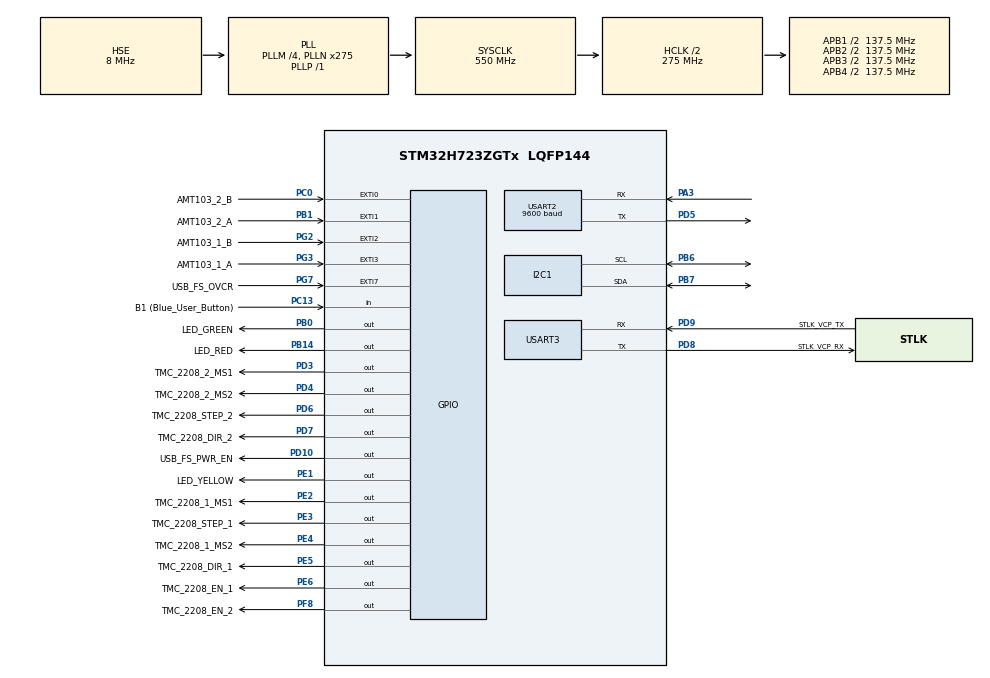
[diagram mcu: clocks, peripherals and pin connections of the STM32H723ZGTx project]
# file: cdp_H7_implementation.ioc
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I2C1.Timing=0x60404E72
Mcu.Family=STM32H7
Mcu.Name=STM32H723ZGTx
Mcu.Package=LQFP144
NVIC.EXTI0_IRQn=true\:0\:0\:false\:false\:true\:true\:true\:true
NVIC.EXTI1_IRQn=true\:0\:0\:false\:false\:true\:true\:true\:true
NVIC.EXTI2_IRQn=true\:0\:0\:false\:false\:true\:true\:true\:true
NVIC.EXTI3_IRQn=true\:0\:0\:false\:false\:true\:true\:true\:true
NVIC.PriorityGroup=NVIC_PRIORITYGROUP_4
NVIC.USART2_IRQn=true\:0\:0\:false\:false\:true\:true\:true\:true
PA1.GPIO_Label=RMII_REF_CLK
PA1.Signal=ETH_REF_CLK
PA10.GPIO_Label=USB_FS_ID
PA10.Signal=USB_OTG_HS_ID
PA13(JTMS/SWDIO).GPIO_Label=SWDIO
PA13(JTMS/SWDIO).Mode=Trace_Asynchronous_SW
PA13(JTMS/SWDIO).Signal=DEBUG_JTMS-SWDIO
PA14(JTCK/SWCLK).GPIO_Label=SWCLK
PA14(JTCK/SWCLK).Mode=Trace_Asynchronous_SW
PA14(JTCK/SWCLK).Signal=DEBUG_JTCK-SWCLK
PA2.GPIO_Label=RMII_MDIO
PA2.Signal=ETH_MDIO
PA3.Mode=Asynchronous
PA3.Signal=USART2_RX
PA7.GPIO_Label=RMII_CRS_DV
PA7.Signal=ETH_CRS_DV
PA9.GPIO_Label=USB_FS_VBUS
PA9.Signal=USB_OTG_HS_VBUS
PB0.GPIO_Label=LED_GREEN
PB0.Signal=GPIO_Output
PB1.GPIO_Label=AMT103_2_A
PB1.GPIO_ModeDefaultEXTI=GPIO_MODE_IT_RISING_FALLING
PB1.Signal=GPXTI1
PB13.GPIO_Label=RMII_TXD1
PB13.Signal=ETH_TXD1
PB14.GPIO_Label=LED_RED
PB14.Signal=GPIO_Output
PB3(JTDO/TRACESWO).GPIO_Label=SWO
PB3(JTDO/TRACESWO).Mode=Trace_Asynchronous_SW
PB3(JTDO/TRACESWO).Signal=DEBUG_JTDO-SWO
PB6.Mode=I2C
PB6.Signal=I2C1_SCL
PB7.Mode=I2C
PB7.Signal=I2C1_SDA
PC0.GPIO_Label=AMT103_2_B
PC0.GPIO_ModeDefaultEXTI=GPIO_MODE_IT_RISING_FALLING
PC0.Signal=GPXTI0
PC1.GPIO_Label=RMII_MDC
PC1.Signal=ETH_MDC
PC13.GPIO_Label=B1 (Blue_User_Button)
PC13.Signal=GPIO_Input
PC14-OSC32_IN.Mode=LSE-External-Oscillator
PC14-OSC32_IN.Signal=RCC_OSC32_IN
PC15-OSC32_OUT.Mode=LSE-External-Oscillator
PC15-OSC32_OUT.Signal=RCC_OSC32_OUT
PC4.GPIO_Label=RMII_RXD0
PC4.Signal=ETH_RXD0
PC5.GPIO_Label=RMII_RXD1
PC5.Signal=ETH_RXD1
PD10.GPIO_Label=USB_FS_PWR_EN
PD10.Signal=GPIO_Output
PD3.GPIO_Label=TMC_2208_2_MS1
PD3.GPIO_Speed=GPIO_SPEED_FREQ_HIGH
PD3.Signal=GPIO_Output
PD4.GPIO_Label=TMC_2208_2_MS2
PD4.GPIO_Speed=GPIO_SPEED_FREQ_HIGH
PD4.Signal=GPIO_Output
PD5.Mode=Asynchronous
PD5.Signal=USART2_TX
PD6.GPIO_Label=TMC_2208_STEP_2
PD6.GPIO_Speed=GPIO_SPEED_FREQ_HIGH
PD6.Signal=GPIO_Output
PD7.GPIO_Label=TMC_2208_DIR_2
PD7.GPIO_Speed=GPIO_SPEED_FREQ_HIGH
PD7.Signal=GPIO_Output
PD8.GPIO_Label=STLK_VCP_RX
PD8.Mode=Asynchronous
PD8.Signal=USART3_TX
PD9.GPIO_Label=STLK_VCP_TX
PD9.Mode=Asynchronous
PD9.Signal=USART3_RX
PE1.GPIO_Label=LED_YELLOW
PE1.Signal=GPIO_Output
PE2.GPIO_Label=TMC_2208_1_MS1
PE2.GPIO_Speed=GPIO_SPEED_FREQ_HIGH
PE2.Signal=GPIO_Output
PE3.GPIO_Label=TMC_2208_STEP_1
PE3.GPIO_Speed=GPIO_SPEED_FREQ_HIGH
PE3.Signal=GPIO_Output
PE4.GPIO_Label=TMC_2208_1_MS2
PE4.GPIO_Speed=GPIO_SPEED_FREQ_HIGH
PE4.Signal=GPIO_Output
PE5.GPIO_Label=TMC_2208_DIR_1
PE5.GPIO_Speed=GPIO_SPEED_FREQ_HIGH
PE5.Signal=GPIO_Output
PE6.GPIO_Label=TMC_2208_EN_1
PE6.GPIO_Speed=GPIO_SPEED_FREQ_HIGH
PE6.Signal=GPIO_Output
PF8.GPIO_Label=TMC_2208_EN_2
PF8.GPIO_Speed=GPIO_SPEED_FREQ_HIGH
PF8.Signal=GPIO_Output
PG11.GPIO_Label=RMII_TX_EN
PG11.Signal=ETH_TX_EN
PG13.GPIO_Label=RMII_TXD0
PG13.Signal=ETH_TXD0
PG2.GPIO_Label=AMT103_1_B
PG2.GPIO_ModeDefaultEXTI=GPIO_MODE_IT_RISING_FALLING
PG2.Signal=GPXTI2
PG3.GPIO_Label=AMT103_1_A
PG3.GPIO_ModeDefaultEXTI=GPIO_MODE_IT_RISING_FALLING
PG3.Signal=GPXTI3
PG7.GPIO_Label=USB_FS_OVCR
PG7.Signal=GPXTI7
PH0-OSC_IN.GPIO_Label=MCO
PH0-OSC_IN.Mode=HSE-External-Clock-Source
PH0-OSC_IN.Signal=RCC_OSC_IN
PH1-OSC_OUT.Signal=RCC_OSC_OUT
ProjectManager.HeapSize=0x200
ProjectManager.StackSize=0x400
ProjectManager.TargetToolchain=STM32CubeIDE
RCC.ADCFreq_Value=76000000
RCC.APB1Freq_Value=137500000
RCC.APB2Freq_Value=137500000
RCC.APB3Freq_Value=137500000
RCC.APB4Freq_Value=137500000
RCC.CortexFreq_Value=550000000
RCC.D1PPRE=RCC_APB3_DIV2
RCC.D2PPRE1=RCC_APB1_DIV2
RCC.D2PPRE2=RCC_APB2_DIV2
RCC.D3PPRE=RCC_APB4_DIV2
RCC.DIVM1=4
RCC.DIVM2=1
RCC.DIVN1=275
RCC.DIVN2=19
RCC.DIVP1=1
RCC.DIVQ1=4
RCC.HCLKFreq_Value=275000000
RCC.HPRE=RCC_HCLK_DIV2
RCC.HSE_VALUE=8000000
RCC.PLLFRACN=0
RCC.PLLSourceVirtual=RCC_PLLSOURCE_HSE
RCC.SYSCLKFreq_VALUE=550000000
RCC.SYSCLKSource=RCC_SYSCLKSOURCE_PLLCLK
RCC.USBCLockSelection=RCC_USBCLKSOURCE_HSI48
RCC.USBFreq_Value=48000000
USART2.BaudRate=9600
USART2.VirtualMode-Asynchronous=VM_ASYNC
USART3.VirtualMode-Asynchronous=VM_ASYNC
board=NUCLEO-H723ZG

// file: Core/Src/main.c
/* USER CODE BEGIN Header */
/**
  ******************************************************************************
  * @file           : main.c
  * @brief          : Main program body
  ******************************************************************************
  *
  ******************************************************************************
  */

/* USER CODE END Header */
#include "main.h"

I2C_HandleTypeDef hi2c1;

UART_HandleTypeDef huart2;
UART_HandleTypeDef huart3;

/* USER CODE BEGIN PV */

double unfiltered[6]; 	// accelerometer values
double filtered[6]; // filtered values

uint8_t error_flag;	 // any error that the accelerometer might throw
ekf_t ekf;		// ekf object

uint32_t start, end, elapsed = 0; // using these to track loop execution time

char debugMsg[100];			// variable to hold messages to be transmitted over UART
char command[RX_BUFFER_SIZE];	// rx buffer for interrupt reception
volatile uint32_t rxIndex = 0;	// variable representing what index the next UART byte goes to
volatile bool messageReady = false;	// when a message is ready, null terminate it, feed it
									// to HC05_ProcessCommand();
float mag[3];
int16_t accelX, accelY, accelZ;
double angles[2];

double BMA456_X_OFFSET = DEFAULT_BMA456_X_OFFSET;
double BMA456_Y_OFFSET = DEFAULT_BMA456_Y_OFFSET;
double BMA456_Z_OFFSET = DEFAULT_BMA456_Z_OFFSET;

Telescope_Status modeStatus =  {.currentMode = MODE_STANDBY,
								.reference_altitude = 0,
								.reference_azimuth = 0,
								.current_altitude = 0,
								.current_azimuth = 0,
							    .est_altitude = 0,
							    .est_azimuth = 0,
							    .ref_mag_x = 0,
							    .ref_mag_y = 0,
								.ref_dec = 0,
							    .current_mag_x = 0,
								.current_mag_y = 0,
								.current_mag_z = 0,
							    .encoder1 = 0,
								.encoder2 = 0,
							    .motor1_en = 0,
							    .motor2_en = 0,
								.hard_iron = {0, 0, 0},
								.soft_iron = {{1, 0, 0},
											  {0, 1, 0},
											  {0, 0, 1}}}; // initialize the telescope

int increment = 0;
															// initialize the magnetometer
MAGNETO_InitTypeDef initDef = {
	    .Register1 = LIS3MDL_MAG_OM_XY_ULTRAHIGH | LIS3MDL_MAG_ODR_80_HZ,
	    .Register2 = LIS3MDL_MAG_FS_4_GA,
	    .Register3 = LIS3MDL_MAG_CONTINUOUS_MODE,
	    .Register4 = LIS3MDL_MAG_OM_Z_ULTRAHIGH,
	    .Register5 = LIS3MDL_MAG_BDU_MSBLSB
	};

/* USER CODE END PV */

void SystemClock_Config(void);
static void MX_GPIO_Init(void);
static void MX_USART3_UART_Init(void);
static void MX_I2C1_Init(void);
static void MX_USART2_UART_Init(void);
/* USER CODE BEGIN PFP */
void calculateAnglesFromAcceleration(const double data[6], double *altitude, double *azimuth);
float vector_dot(const float[3], const float[3]);
void vector_normalize(float[3]);
void vector_cross(const float[3], const float[3], float[3]);
/* USER CODE END PFP */

int main(void)
{

  /* MCU Configuration--------------------------------------------------------*/

  /* Reset of all peripherals, Initializes the Flash interface and the Systick. */
  HAL_Init();

  /* Configure the system clock */
  SystemClock_Config();

  /* Initialize all configured peripherals */
  MX_GPIO_Init();
  MX_USART3_UART_Init();
  MX_I2C1_Init();
  MX_USART2_UART_Init();
  /* USER CODE BEGIN 2 */

  BMA456_Startup(hi2c1);	// initializes the BMA456 accelerometer
  LIS3MDL_MagInit(initDef);	// initializes the LIS3MDL magnetometer

  ekf_setup(&ekf);

  HAL_UART_Receive_IT(&huart2, (uint8_t*) command, 1);

  /* USER CODE END 2 */

  /* Infinite loop */
  /* USER CODE BEGIN WHILE */
  while (1)
  {
	  start = HAL_GetTick();
	  // Based on modeStatus.currentMode, switch between different operational modes.
	  if(messageReady==true){
		  messageReady = false;
		  HC05_ProcessCommand(command, &modeStatus, &huart2);
	  }

	  switch(modeStatus.currentMode) {

	      case MODE_POINTING:
	    	 volatile float distance_traveled_alt, distance_traveled_az, alt_diff, az_diff;
	    	 distance_traveled_alt = modeStatus.encoder1 * AMT103_DPP;
	    	 distance_traveled_az = modeStatus.encoder2 * AMT103_DPP;
	    	 modeStatus.est_altitude = modeStatus.current_altitude + distance_traveled_alt;
	    	 modeStatus.est_azimuth = modeStatus.current_azimuth + distance_traveled_az;
	    	 alt_diff = modeStatus.est_altitude - modeStatus.reference_altitude;
	    	 az_diff = modeStatus.est_azimuth - modeStatus.reference_azimuth;
	    	 // altitude control
	    	 if(fabs(alt_diff) >= 1){
	    		 if(alt_diff < 0){
	    			 TMC2208_Backward(ALT_MOTOR);
	    		 } else{
	    			 TMC2208_Forward(ALT_MOTOR);
	    		 }
	    		 TMC2208_Step(ALT_MOTOR);
	    	 }
	    	 // azimuth control
	    	 if(fabs(az_diff) >= 1){
	    		 if(az_diff < 0){
	    			 TMC2208_Backward(AZ_MOTOR);
	    		 } else{
	    			 TMC2208_Forward(AZ_MOTOR);
	    		 }
	    		 TMC2208_Step(2);
	    	 }
			 if(increment >= 100 ){
				 // if the telescope isn't moving from the encoder's POV, send debug message and leave pointing
				 if(distance_traveled_alt == 0 || distance_traveled_az == 0){
					  sprintf(debugMsg, "ERROR - invalid measured distance traveled from encoders! Exiting pointing mode.\r\n");
					  HAL_UART_Transmit(&huart2, (uint8_t*)debugMsg, strlen(debugMsg), 100);
					  modeStatus.currentMode = MODE_STANDBY;
					  increment = 0;
				 } else{	// regular reports of how far the scope has traveled
					  sprintf(debugMsg, "Distance traveled - Altitude: %f | Azimuth: %f\r\n", distance_traveled_alt, distance_traveled_az);
					  HAL_UART_Transmit(&huart2, (uint8_t*)debugMsg, strlen(debugMsg), 100);
					 increment = 0;
				 }
	    	  	}
			  increment++;
	          break;

	      case MODE_STANDBY:
			    modeStatus.encoder1 = 0;
                modeStatus.encoder2 = 0;
				// Read acceleration data
				BMA456_ReadAccelData(&accelX, &accelY, &accelZ, hi2c1);
				LIS3MDL_MagReadXYZ((float*) &mag);

				// Convert to double for calculation (assuming BMA456 scale is set for +-2g and 12-bit resolution)
				unfiltered[0] = ((double)accelX / BMA456_FSR * 9.80665) - BMA456_X_OFFSET;
				unfiltered[1] = ((double)accelY / BMA456_FSR * 9.80665) - BMA456_Y_OFFSET;
				unfiltered[2] = ((double)accelZ / BMA456_FSR * 9.80665) - BMA456_Z_OFFSET;

				// Apply hard and soft iron correction to magnetometer data
				for (int i = 0; i < 3; i++){
					mag[i] -= modeStatus.hard_iron[i];
				}
				for (int i = 0; i < 3; i++){
					for (int j = 0; j < 3; j++){
						unfiltered[i+3] += mag[j] * modeStatus.soft_iron[i][j];
					}
				}
				// Calculate angles
				calculateAnglesFromAcceleration(unfiltered, &angles[0], &angles[1]);

				model(&ekf, angles);

				ekf_step(&ekf, angles);

				for (int i = 0; i < Nsta; i++) {
				    angles[i] = ekf.x[i];
				}
				modeStatus.current_altitude = angles[0];
				modeStatus.current_azimuth = angles[1] + modeStatus.ref_dec;

				// Send angles over UART to debug
	    	  	if(increment>=4500){
					sprintf(debugMsg, "Altitude: %f, Azimuth: %f\r\n", modeStatus.current_altitude, modeStatus.current_azimuth);
					HAL_UART_Transmit(&huart2, (uint8_t*)debugMsg, strlen(debugMsg), 100);
					increment = 0;
	    	  	}
	          break;

	      case MODE_CALIBRATION_A:
	    	  	BMA456_Calibration(hi2c1, &BMA456_X_OFFSET, &BMA456_Y_OFFSET, &BMA456_Z_OFFSET, ekf);
				sprintf(debugMsg, "Accelerometer calibration complete...\r\n");
				HAL_UART_Transmit(&huart2, (uint8_t*)debugMsg, strlen(debugMsg), 100);
				modeStatus.currentMode = MODE_STANDBY;
	          break;

	      case MODE_CALIBRATION_M:
	    	    Magnetic_Calibration(&huart2);
				sprintf(debugMsg, "Magnetometer calibration complete...\r\n");
				HAL_UART_Transmit(&huart2, (uint8_t*)debugMsg, strlen(debugMsg), 100);
				modeStatus.currentMode = MODE_STANDBY;

	    	  break;

	      case MODE_HEALTH_CHECK:
	    	    uint8_t error_flags = 0;
				BMA456_ReadErrorFlag(&error_flags, hi2c1);
				if (error_flags != 0){
					sprintf(debugMsg, "ERROR! BMA456 reported error: %i \r\n", error_flags);
					HAL_UART_Transmit(&huart2, (uint8_t*)debugMsg, strlen(debugMsg), 100);
				}
				int16_t iaccelX, iaccelY, iaccelZ, paccelX, paccelY, paccelZ;
				BMA456_ReadAccelData(&iaccelX, &iaccelY, &iaccelZ, hi2c1);
				HAL_Delay(2000);
				BMA456_ReadAccelData(&paccelX, &paccelY, &paccelZ, hi2c1);
				if (iaccelX == paccelX || iaccelY == paccelY || iaccelZ == paccelZ){
					sprintf(debugMsg, "ERROR! BMA456 not updating values.\r\n");
					HAL_UART_Transmit(&huart2, (uint8_t*)debugMsg, strlen(debugMsg), 100);
				}
				float imag[3];
				LIS3MDL_MagReadXYZ((float*) &imag);
				for (int i = 0; i < 3; i++){
					if(imag[i] == 0 || imag[i] == 0xFF){
						sprintf(debugMsg, "ERROR! LIS3MDL not updating values.\r\n");
						HAL_UART_Transmit(&huart2, (uint8_t*)debugMsg, strlen(debugMsg), 100);
					}
				}
				modeStatus.currentMode = MODE_STANDBY;
	          break;

	      default:
				sprintf(debugMsg, "Failure to change modes.\r\n");
				HAL_UART_Transmit(&huart2, (uint8_t*)debugMsg, strlen(debugMsg), 100);
				modeStatus.currentMode = MODE_STANDBY;
				increment = 0;
	          break;

	  }
	  increment++;
	  // Disable the motors if we aren't in pointing mode.
 	 if(modeStatus.currentMode != MODE_POINTING){
 		 TMC2208_Disable();
 		 modeStatus.motor1_en = 0;
 		 modeStatus.motor2_en = 0;
 	 }

	  elapsed = HAL_GetTick() - start;	// execution time of main loop in milliseconds
    /* USER CODE END WHILE */

  }
}

void SystemClock_Config(void)
{
  RCC_OscInitTypeDef RCC_OscInitStruct = {0};
  RCC_ClkInitTypeDef RCC_ClkInitStruct = {0};

  /** Supply configuration update enable
  */
  HAL_PWREx_ConfigSupply(PWR_LDO_SUPPLY);

  /** Configure the main internal regulator output voltage
  */
  __HAL_PWR_VOLTAGESCALING_CONFIG(PWR_REGULATOR_VOLTAGE_SCALE0);

  while(!__HAL_PWR_GET_FLAG(PWR_FLAG_VOSRDY)) {}

  /** Initializes the RCC Oscillators according to the specified parameters
  * in the RCC_OscInitTypeDef structure.
  */
  RCC_OscInitStruct.OscillatorType = RCC_OSCILLATORTYPE_HSE;
  RCC_OscInitStruct.HSEState = RCC_HSE_BYPASS;
  RCC_OscInitStruct.PLL.PLLState = RCC_PLL_ON;
  RCC_OscInitStruct.PLL.PLLSource = RCC_PLLSOURCE_HSE;
  RCC_OscInitStruct.PLL.PLLM = 4;
  RCC_OscInitStruct.PLL.PLLN = 275;
  RCC_OscInitStruct.PLL.PLLP = 1;
  RCC_OscInitStruct.PLL.PLLQ = 4;
  RCC_OscInitStruct.PLL.PLLR = 2;
  RCC_OscInitStruct.PLL.PLLRGE = RCC_PLL1VCIRANGE_1;
  RCC_OscInitStruct.PLL.PLLVCOSEL = RCC_PLL1VCOWIDE;
  RCC_OscInitStruct.PLL.PLLFRACN = 0;
  if (HAL_RCC_OscConfig(&RCC_OscInitStruct) != HAL_OK)
  {
    Error_Handler();
  }

  /** Initializes the CPU, AHB and APB buses clocks
  */
  RCC_ClkInitStruct.ClockType = RCC_CLOCKTYPE_HCLK|RCC_CLOCKTYPE_SYSCLK
                              |RCC_CLOCKTYPE_PCLK1|RCC_CLOCKTYPE_PCLK2
                              |RCC_CLOCKTYPE_D3PCLK1|RCC_CLOCKTYPE_D1PCLK1;
  RCC_ClkInitStruct.SYSCLKSource = RCC_SYSCLKSOURCE_PLLCLK;
  RCC_ClkInitStruct.SYSCLKDivider = RCC_SYSCLK_DIV1;
  RCC_ClkInitStruct.AHBCLKDivider = RCC_HCLK_DIV2;
  RCC_ClkInitStruct.APB3CLKDivider = RCC_APB3_DIV2;
  RCC_ClkInitStruct.APB1CLKDivider = RCC_APB1_DIV2;
  RCC_ClkInitStruct.APB2CLKDivider = RCC_APB2_DIV2;
  RCC_ClkInitStruct.APB4CLKDivider = RCC_APB4_DIV2;

  if (HAL_RCC_ClockConfig(&RCC_ClkInitStruct, FLASH_LATENCY_3) != HAL_OK)
  {
    Error_Handler();
  }
}

static void MX_I2C1_Init(void)
{

  hi2c1.Instance = I2C1;
  hi2c1.Init.Timing = 0x60404E72;
  hi2c1.Init.OwnAddress1 = 0;
  hi2c1.Init.AddressingMode = I2C_ADDRESSINGMODE_7BIT;
  hi2c1.Init.DualAddressMode = I2C_DUALADDRESS_DISABLE;
  hi2c1.Init.OwnAddress2 = 0;
  hi2c1.Init.OwnAddress2Masks = I2C_OA2_NOMASK;
  hi2c1.Init.GeneralCallMode = I2C_GENERALCALL_DISABLE;
  hi2c1.Init.NoStretchMode = I2C_NOSTRETCH_DISABLE;
  if (HAL_I2C_Init(&hi2c1) != HAL_OK)
  {
    Error_Handler();
  }

  /** Configure Analogue filter
  */
  if (HAL_I2CEx_ConfigAnalogFilter(&hi2c1, I2C_ANALOGFILTER_ENABLE) != HAL_OK)
  {
    Error_Handler();
  }

  /** Configure Digital filter
  */
  if (HAL_I2CEx_ConfigDigitalFilter(&hi2c1, 0) != HAL_OK)
  {
    Error_Handler();
  }

}

static void MX_USART2_UART_Init(void)
{

  huart2.Instance = USART2;
  huart2.Init.BaudRate = 9600;
  huart2.Init.WordLength = UART_WORDLENGTH_8B;
  huart2.Init.StopBits = UART_STOPBITS_1;
  huart2.Init.Parity = UART_PARITY_NONE;
  huart2.Init.Mode = UART_MODE_TX_RX;
  huart2.Init.HwFlowCtl = UART_HWCONTROL_NONE;
  huart2.Init.OverSampling = UART_OVERSAMPLING_16;
  huart2.Init.OneBitSampling = UART_ONE_BIT_SAMPLE_DISABLE;
  huart2.Init.ClockPrescaler = UART_PRESCALER_DIV1;
  huart2.AdvancedInit.AdvFeatureInit = UART_ADVFEATURE_NO_INIT;
  if (HAL_UART_Init(&huart2) != HAL_OK)
  {
    Error_Handler();
  }
  if (HAL_UARTEx_SetTxFifoThreshold(&huart2, UART_TXFIFO_THRESHOLD_1_8) != HAL_OK)
  {
    Error_Handler();
  }
  if (HAL_UARTEx_SetRxFifoThreshold(&huart2, UART_RXFIFO_THRESHOLD_1_8) != HAL_OK)
  {
    Error_Handler();
  }
  if (HAL_UARTEx_DisableFifoMode(&huart2) != HAL_OK)
  {
    Error_Handler();
  }

}

static void MX_USART3_UART_Init(void)
{

  huart3.Instance = USART3;
  huart3.Init.BaudRate = 115200;
  huart3.Init.WordLength = UART_WORDLENGTH_8B;
  huart3.Init.StopBits = UART_STOPBITS_1;
  huart3.Init.Parity = UART_PARITY_NONE;
  huart3.Init.Mode = UART_MODE_TX_RX;
  huart3.Init.HwFlowCtl = UART_HWCONTROL_NONE;
  huart3.Init.OverSampling = UART_OVERSAMPLING_16;
  huart3.Init.OneBitSampling = UART_ONE_BIT_SAMPLE_DISABLE;
  huart3.Init.ClockPrescaler = UART_PRESCALER_DIV1;
  huart3.AdvancedInit.AdvFeatureInit = UART_ADVFEATURE_NO_INIT;
  if (HAL_UART_Init(&huart3) != HAL_OK)
  {
    Error_Handler();
  }
  if (HAL_UARTEx_SetTxFifoThreshold(&huart3, UART_TXFIFO_THRESHOLD_1_8) != HAL_OK)
  {
    Error_Handler();
  }
  if (HAL_UARTEx_SetRxFifoThreshold(&huart3, UART_RXFIFO_THRESHOLD_1_8) != HAL_OK)
  {
    Error_Handler();
  }
  if (HAL_UARTEx_DisableFifoMode(&huart3) != HAL_OK)
  {
    Error_Handler();
  }

}

static void MX_GPIO_Init(void)
{
  GPIO_InitTypeDef GPIO_InitStruct = {0};

  /* GPIO Ports Clock Enable */
  __HAL_RCC_GPIOE_CLK_ENABLE();
  __HAL_RCC_GPIOC_CLK_ENABLE();
  __HAL_RCC_GPIOF_CLK_ENABLE();
  __HAL_RCC_GPIOH_CLK_ENABLE();
  __HAL_RCC_GPIOA_CLK_ENABLE();
  __HAL_RCC_GPIOB_CLK_ENABLE();
  __HAL_RCC_GPIOD_CLK_ENABLE();
  __HAL_RCC_GPIOG_CLK_ENABLE();

  /*Configure GPIO pin Output Level */
  HAL_GPIO_WritePin(GPIOE, TMC_2208_1_MS1_Pin|TMC_2208_STEP_1_Pin|TMC_2208_1_MS2_Pin|TMC_2208_DIR_1_Pin
                          |TMC_2208_EN_1_Pin|LED_YELLOW_Pin, GPIO_PIN_RESET);

  /*Configure GPIO pin Output Level */
  HAL_GPIO_WritePin(TMC_2208_EN_2_GPIO_Port, TMC_2208_EN_2_Pin, GPIO_PIN_RESET);

  /*Configure GPIO pin Output Level */
  HAL_GPIO_WritePin(GPIOB, LED_GREEN_Pin|LED_RED_Pin, GPIO_PIN_RESET);

  /*Configure GPIO pin Output Level */
  HAL_GPIO_WritePin(GPIOD, USB_FS_PWR_EN_Pin|TMC_2208_2_MS1_Pin|TMC_2208_2_MS2_Pin|TMC_2208_STEP_2_Pin
                          |TMC_2208_DIR_2_Pin, GPIO_PIN_RESET);

  /*Configure GPIO pins : TMC_2208_1_MS1_Pin TMC_2208_STEP_1_Pin TMC_2208_1_MS2_Pin TMC_2208_DIR_1_Pin
                           TMC_2208_EN_1_Pin LED_YELLOW_Pin */
  GPIO_InitStruct.Pin = TMC_2208_1_MS1_Pin|TMC_2208_STEP_1_Pin|TMC_2208_1_MS2_Pin|TMC_2208_DIR_1_Pin
                          |TMC_2208_EN_1_Pin|LED_YELLOW_Pin;
  GPIO_InitStruct.Mode = GPIO_MODE_OUTPUT_PP;
  GPIO_InitStruct.Pull = GPIO_NOPULL;
  GPIO_InitStruct.Speed = GPIO_SPEED_FREQ_LOW;
  HAL_GPIO_Init(GPIOE, &GPIO_InitStruct);

  /*Configure GPIO pin : B1_Pin */
  GPIO_InitStruct.Pin = B1_Pin;
  GPIO_InitStruct.Mode = GPIO_MODE_INPUT;
  GPIO_InitStruct.Pull = GPIO_NOPULL;
  HAL_GPIO_Init(B1_GPIO_Port, &GPIO_InitStruct);

  /*Configure GPIO pin : TMC_2208_EN_2_Pin */
  GPIO_InitStruct.Pin = TMC_2208_EN_2_Pin;
  GPIO_InitStruct.Mode = GPIO_MODE_OUTPUT_PP;
  GPIO_InitStruct.Pull = GPIO_NOPULL;
  GPIO_InitStruct.Speed = GPIO_SPEED_FREQ_LOW;
  HAL_GPIO_Init(TMC_2208_EN_2_GPIO_Port, &GPIO_InitStruct);

  /*Configure GPIO pin : AMT103_2_B_Pin */
  GPIO_InitStruct.Pin = AMT103_2_B_Pin;
  GPIO_InitStruct.Mode = GPIO_MODE_IT_RISING_FALLING;
  GPIO_InitStruct.Pull = GPIO_NOPULL;
  HAL_GPIO_Init(AMT103_2_B_GPIO_Port, &GPIO_InitStruct);

  /*Configure GPIO pins : RMII_MDC_Pin RMII_RXD0_Pin RMII_RXD1_Pin */
  GPIO_InitStruct.Pin = RMII_MDC_Pin|RMII_RXD0_Pin|RMII_RXD1_Pin;
  GPIO_InitStruct.Mode = GPIO_MODE_AF_PP;
  GPIO_InitStruct.Pull = GPIO_NOPULL;
  GPIO_InitStruct.Speed = GPIO_SPEED_FREQ_LOW;
  GPIO_InitStruct.Alternate = GPIO_AF11_ETH;
  HAL_GPIO_Init(GPIOC, &GPIO_InitStruct);

  /*Configure GPIO pins : RMII_REF_CLK_Pin RMII_MDIO_Pin RMII_CRS_DV_Pin */
  GPIO_InitStruct.Pin = RMII_REF_CLK_Pin|RMII_MDIO_Pin|RMII_CRS_DV_Pin;
  GPIO_InitStruct.Mode = GPIO_MODE_AF_PP;
  GPIO_InitStruct.Pull = GPIO_NOPULL;
  GPIO_InitStruct.Speed = GPIO_SPEED_FREQ_LOW;
  GPIO_InitStruct.Alternate = GPIO_AF11_ETH;
  HAL_GPIO_Init(GPIOA, &GPIO_InitStruct);

  /*Configure GPIO pins : LED_GREEN_Pin LED_RED_Pin */
  GPIO_InitStruct.Pin = LED_GREEN_Pin|LED_RED_Pin;
  GPIO_InitStruct.Mode = GPIO_MODE_OUTPUT_PP;
  GPIO_InitStruct.Pull = GPIO_NOPULL;
  GPIO_InitStruct.Speed = GPIO_SPEED_FREQ_LOW;
  HAL_GPIO_Init(GPIOB, &GPIO_InitStruct);

  /*Configure GPIO pin : AMT103_2_A_Pin */
  GPIO_InitStruct.Pin = AMT103_2_A_Pin;
  GPIO_InitStruct.Mode = GPIO_MODE_IT_RISING_FALLING;
  GPIO_InitStruct.Pull = GPIO_NOPULL;
  HAL_GPIO_Init(AMT103_2_A_GPIO_Port, &GPIO_InitStruct);

  /*Configure GPIO pin : RMII_TXD1_Pin */
  GPIO_InitStruct.Pin = RMII_TXD1_Pin;
  GPIO_InitStruct.Mode = GPIO_MODE_AF_PP;
  GPIO_InitStruct.Pull = GPIO_NOPULL;
  GPIO_InitStruct.Speed = GPIO_SPEED_FREQ_LOW;
  GPIO_InitStruct.Alternate = GPIO_AF11_ETH;
  HAL_GPIO_Init(RMII_TXD1_GPIO_Port, &GPIO_InitStruct);

  /*Configure GPIO pins : USB_FS_PWR_EN_Pin TMC_2208_2_MS1_Pin TMC_2208_2_MS2_Pin TMC_2208_STEP_2_Pin
                           TMC_2208_DIR_2_Pin */
  GPIO_InitStruct.Pin = USB_FS_PWR_EN_Pin|TMC_2208_2_MS1_Pin|TMC_2208_2_MS2_Pin|TMC_2208_STEP_2_Pin
                          |TMC_2208_DIR_2_Pin;
  GPIO_InitStruct.Mode = GPIO_MODE_OUTPUT_PP;
  GPIO_InitStruct.Pull = GPIO_NOPULL;
  GPIO_InitStruct.Speed = GPIO_SPEED_FREQ_LOW;
  HAL_GPIO_Init(GPIOD, &GPIO_InitStruct);

  /*Configure GPIO pins : AMT103_1_B_Pin AMT103_1_A_Pin */
  GPIO_InitStruct.Pin = AMT103_1_B_Pin|AMT103_1_A_Pin;
  GPIO_InitStruct.Mode = GPIO_MODE_IT_RISING_FALLING;
  GPIO_InitStruct.Pull = GPIO_NOPULL;
  HAL_GPIO_Init(GPIOG, &GPIO_InitStruct);

  /*Configure GPIO pin : USB_FS_OVCR_Pin */
  GPIO_InitStruct.Pin = USB_FS_OVCR_Pin;
  GPIO_InitStruct.Mode = GPIO_MODE_IT_RISING;
  GPIO_InitStruct.Pull = GPIO_NOPULL;
  HAL_GPIO_Init(USB_FS_OVCR_GPIO_Port, &GPIO_InitStruct);

  /*Configure GPIO pin : USB_FS_ID_Pin */
  GPIO_InitStruct.Pin = USB_FS_ID_Pin;
  GPIO_InitStruct.Mode = GPIO_MODE_AF_PP;
  GPIO_InitStruct.Pull = GPIO_NOPULL;
  GPIO_InitStruct.Speed = GPIO_SPEED_FREQ_LOW;
  GPIO_InitStruct.Alternate = GPIO_AF10_OTG1_HS;
  HAL_GPIO_Init(USB_FS_ID_GPIO_Port, &GPIO_InitStruct);

  /*Configure GPIO pins : RMII_TX_EN_Pin RMII_TXD0_Pin */
  GPIO_InitStruct.Pin = RMII_TX_EN_Pin|RMII_TXD0_Pin;
  GPIO_InitStruct.Mode = GPIO_MODE_AF_PP;
  GPIO_InitStruct.Pull = GPIO_NOPULL;
  GPIO_InitStruct.Speed = GPIO_SPEED_FREQ_LOW;
  GPIO_InitStruct.Alternate = GPIO_AF11_ETH;
  HAL_GPIO_Init(GPIOG, &GPIO_InitStruct);

  /* EXTI interrupt init*/
  HAL_NVIC_SetPriority(EXTI0_IRQn, 0, 0);
  HAL_NVIC_EnableIRQ(EXTI0_IRQn);

  HAL_NVIC_SetPriority(EXTI1_IRQn, 0, 0);
  HAL_NVIC_EnableIRQ(EXTI1_IRQn);

  HAL_NVIC_SetPriority(EXTI2_IRQn, 0, 0);
  HAL_NVIC_EnableIRQ(EXTI2_IRQn);

  HAL_NVIC_SetPriority(EXTI3_IRQn, 0, 0);
  HAL_NVIC_EnableIRQ(EXTI3_IRQn);

}

/* USER CODE BEGIN 4 */

/**
  * @brief EKF Initialization function.
  * @param ekf_t* ekf : ekf object defined in tiny_ekf_struct.h
  * @retval None
  */
void ekf_setup(ekf_t* ekf){

    // Initialize the EKF here
    ekf_init(ekf, Nsta, Mobs);

    // Set initial state estimates (e.g., to 0 if unknown)
    for (int i = 0; i < Nsta; ++i) {
        ekf->x[i] = 0.0;
    }

    // Define initial process noise covariance matrix Q
    double q = 0.01; // example process noise variance
    for (int i = 0; i < Nsta; ++i) {
        ekf->Q[i][i] = q;
    }

    // Define initial measurement noise covariance matrix R
    double r = 0.02; // example measurement noise variance
    for (int i = 0; i < Mobs; ++i) {
        ekf->R[i][i] = r;
    }
}
/**
  * @brief Creates state model for EKF.
  * @param ekf_t* ekf : ekf object defined in tiny_ekf_struct.h
  * @param double* z : input measurements
  * @retval None
  */
void model(ekf_t* ekf, double* z) {
    // Assuming direct measurement of acceleration for simplicity

    // State transition function f(x)
    for (int i = 0; i < Nsta; ++i) {
        ekf->fx[i] = ekf->x[i]; // Simple model: next state is equal to current state
    }

    // Measurement function h(x)
    for (int i = 0; i < Mobs; ++i) {
        ekf->hx[i] = ekf->x[i]; // Direct observation: measurement equals state
    }

    // F and H Jacobian matrices
    for (int i = 0; i < Nsta; ++i) {
        for (int j = 0; j < Nsta; ++j) {
            ekf->F[i][j] = (i == j) ? 1 : 0; // Identity matrix for F
        }
    }

    for (int i = 0; i < Mobs; ++i) {
        for (int j = 0; j < Nsta; ++j) {
            ekf->H[i][j] = (i == j) ? 1 : 0; // Identity matrix for H
        }
    }
}
/**
 * @brief Calculates alt az from accel data
 */
void calculateAnglesFromAcceleration(const double data[6], double *altitude, double *azimuth) {

    // Compute the East and North vectors
    float E[3], N[3], mag[3], accel[3];
    for (int i = 0;i<3;i++){
    	accel[i] = data[i];
    	mag[i+3] = data[i+3];
    }
    vector_cross(mag, accel, E); // Cross product of mag and accel vectors
    vector_normalize(E);                        // Normalize the East vector

    vector_cross(accel, E, N);             // Cross product of accel and East vectors
    vector_normalize(N);                        // Normalize the North vector

    // Compute the heading
    // Assuming 'from' vector is the front of the device and it's [1, 0, 0]
    float from[3] = {1, 0, 0};
    float heading = atan2(vector_dot(E, from), vector_dot(N, from)) * 180 / M_PI;
    if (heading < 0) heading += 360;

    *azimuth = heading;

    *altitude = asin(data[0] / sqrt(data[0] * data[0] + data[1] * data[1] + data[2] * data[2])) * (180 / M_PI);

}
/**
 * @brief Computes the cross product of two 3D vectors.
 * @param a The first input vector.
 * @param b The second input vector.
 * @param result The output vector that is the cross product of a and b.
 */
void vector_cross(const float a[3], const float b[3], float result[3]) {
    result[0] = a[1] * b[2] - a[2] * b[1];
    result[1] = a[2] * b[0] - a[0] * b[2];
    result[2] = a[0] * b[1] - a[1] * b[0];
}

/**
 * @brief Normalizes a 3D vector to unit length.
 * @param v The input vector to normalize.
 */
void vector_normalize(float v[3]) {
    // Calculate the magnitude of the vector
    float magnitude = sqrt(v[0] * v[0] + v[1] * v[1] + v[2] * v[2]);

    // Avoid division by zero
    if (magnitude > 0.0f) {
        // Normalize the vector by its magnitude
        v[0] /= magnitude;
        v[1] /= magnitude;
        v[2] /= magnitude;
    }
}

/**
 * @brief Computes the dot product of two 3D vectors.
 * @param a The first input vector.
 * @param b The second input vector.
 * @return The scalar dot product of vectors a and b.
 */
float vector_dot(const float a[3], const float b[3]) {
    return a[0] * b[0] + a[1] * b[1] + a[2] * b[2];
}

/**
 * @brief Retrieves data that was recorded from the interrupt
 */
void HAL_UART_RxCpltCallback(UART_HandleTypeDef *huart) {

	if (command[rxIndex] == '\n') { // Assuming '\n' as the delimiter
		messageReady = true; // A complete message is ready
		command[rxIndex] = '\0'; // Null-terminate the message
		rxIndex = 0; // Reset index for next message
	} else {
		rxIndex++; // Prepare for next character
		if (rxIndex >= RX_BUFFER_SIZE) {
			rxIndex = 0; // Prevent buffer overflow
		}
	}
	// Re-enable UART receive interrupt for next byte
	HAL_UART_Receive_IT(huart, (uint8_t*)&command[rxIndex], 1);

}

/* USER CODE END 4 */

void Error_Handler(void)
{
  /* USER CODE BEGIN Error_Handler_Debug */

    MX_I2C1_Init(); // Reinitialize I2C peripheral

  /* USER CODE END Error_Handler_Debug */
}
